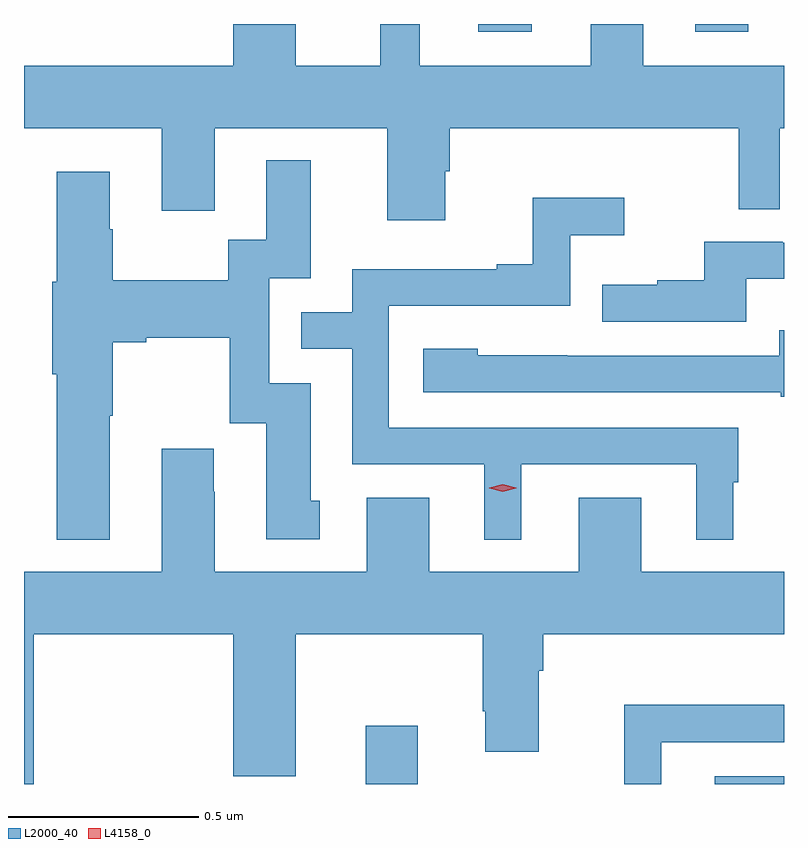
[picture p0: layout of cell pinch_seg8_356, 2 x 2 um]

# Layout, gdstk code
import gdstk
lib = gdstk.Library(unit=1e-6, precision=1e-09)
def R(c, l, rs):  # rectangles x0, y0, x1, y1
    for r in rs: c.add(gdstk.rectangle(r[:2], r[2:], *l))
def P(c, l, *ps):  # polygons
    for p in ps: c.add(gdstk.Polygon(p, *l))
L2000_40 = (2000, 40)
L4158_0 = (4158, 0)

pinch_seg8_356 = lib.new_cell('pinch_seg8_356')
R(pinch_seg8_356, L2000_40, [(489.032,1156.066,489.169,1156.219), (489.951,1156.066,490.133,1156.086), (489.329,1158.045,489.469,1158.066), (489.899,1158.045,490.039,1158.066)])
P(pinch_seg8_356, L2000_40, [(489.241,1157.679),(489.254,1157.679),(489.254,1157.792),(490.014,1157.792),(490.014,1157.578),(490.122,1157.578),(490.122,1157.792),(490.133,1157.792),(490.133,1157.956),(489.763,1157.956),(489.763,1158.066),(489.624,1158.066),(489.624,1157.956),(489.175,1157.956),(489.175,1158.066),(489.071,1158.066),(489.071,1157.956),(488.848,1157.956),(488.848,1158.066),(488.684,1158.066),(488.684,1157.956),(488.133,1157.956),(488.133,1157.792),(488.495,1157.792),(488.495,1157.574),(488.635,1157.574),(488.635,1157.792),(489.089,1157.792),(489.089,1157.55),(489.241,1157.55)],
  [(488.359,1157.035),(488.367,1157.035),(488.367,1157.228),(488.455,1157.228),(488.455,1157.24),(488.675,1157.24),(488.675,1157.016),(488.771,1157.016),(488.771,1156.71),(488.911,1156.71),(488.911,1156.812),(488.887,1156.812),(488.887,1157.121),(488.778,1157.121),(488.778,1157.397),(488.887,1157.397),(488.887,1157.707),(488.771,1157.707),(488.771,1157.498),(488.67,1157.498),(488.67,1157.392),(488.367,1157.392),(488.367,1157.526),(488.359,1157.526),(488.359,1157.677),(488.219,1157.677),(488.219,1157.388),(488.207,1157.388),(488.207,1157.144),(488.219,1157.144),(488.219,1156.709),(488.359,1156.709)],
  [(489.442,1156.908),(489.902,1156.908),(489.902,1156.709),(490,1156.709),(490,1156.86),(490.012,1156.86),(490.012,1157.004),(489.093,1157.004),(489.093,1157.325),(489.57,1157.325),(489.57,1157.51),(489.712,1157.51),(489.712,1157.609),(489.472,1157.609),(489.472,1157.434),(489.377,1157.434),(489.377,1157.421),(488.997,1157.421),(488.997,1157.307),(488.863,1157.307),(488.863,1157.211),(488.997,1157.211),(488.997,1156.908),(489.344,1156.908),(489.344,1156.709),(489.442,1156.709)],
  [(490.033,1157.396),(490.133,1157.396),(490.133,1157.49),(490.13,1157.49),(490.13,1157.493),(489.923,1157.493),(489.923,1157.392),(489.799,1157.392),(489.799,1157.38),(489.655,1157.38),(489.655,1157.283),(490.033,1157.283)],
  [(490.133,1157.26),(490.121,1157.26),(490.121,1157.193),(489.563,1157.193),(489.563,1157.194),(489.327,1157.194),(489.327,1157.212),(489.183,1157.212),(489.183,1157.097),(490.125,1157.097),(490.125,1157.085),(490.133,1157.085)],
  [(488.159,1156.46),(488.684,1156.46),(488.684,1156.086),(488.848,1156.086),(488.848,1156.46),(489.34,1156.46),(489.34,1156.258),(489.347,1156.258),(489.347,1156.151),(489.487,1156.151),(489.487,1156.364),(489.5,1156.364),(489.5,1156.46),(490.133,1156.46),(490.133,1156.624),(489.757,1156.624),(489.757,1156.819),(489.593,1156.819),(489.593,1156.624),(489.199,1156.624),(489.199,1156.819),(489.035,1156.819),(489.035,1156.624),(488.635,1156.624),(488.635,1156.835),(488.632,1156.835),(488.632,1156.948),(488.495,1156.948),(488.495,1156.624),(488.133,1156.624),(488.133,1156.066),(488.159,1156.066)],
  [(489.81,1156.176),(490.133,1156.176),(490.133,1156.274),(489.712,1156.274),(489.712,1156.066),(489.81,1156.066)])
P(pinch_seg8_356, L4158_0, [(489.393,1156.835),(489.357,1156.844),(489.357,1156.845),(489.357,1156.845),(489.393,1156.855),(489.429,1156.845),(489.429,1156.845),(489.429,1156.844)])

lib.write_gds('pinch_seg8_356.gds')
